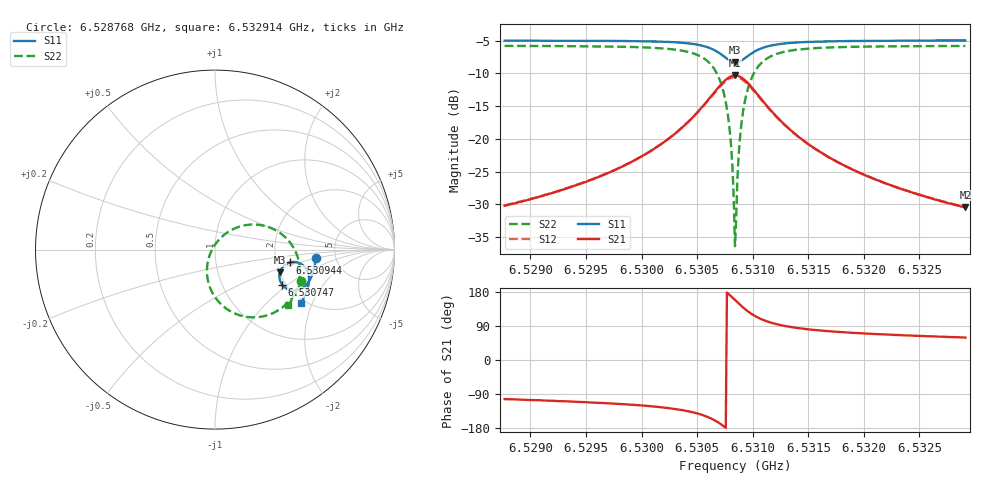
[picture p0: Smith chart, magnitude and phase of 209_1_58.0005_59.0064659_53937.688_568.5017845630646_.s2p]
#  HZ  S  RI  R  50.00
! Rohde & Schwarz Vector Network Analyzer
! Rohde-Schwarz,ZNB20-2Port,1311601062101988,3.16
! Created: UTC 3/21/2024, 12:59:40 AM
! freq[Hz]  re:S11  im:S11  re:S21  im:S21  re:S12  im:S12  re:S22  im:S22
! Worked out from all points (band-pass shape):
!   401 points, 6.528768 GHz to 6.532914 GHz, reference 50 ohm
!   highest |S21| = -10.31 dB at 6.530841 GHz (marker M1); lowest = -30.4 dB at 6.532914 GHz (marker M2)
!   |S21| within 3 dB of the highest: 6.530634 GHz to 6.531049 GHz (414.2 kHz wide, 0.00634 % of centre)
!   lowest |S11| = -8.3 dB at 6.530841 GHz (marker M3), VSWR 2.24, Z = 101 - j29.9 ohm
!   |S11| at or under -10 dB: nowhere
!   |S22| runs from -36.4 to -5.8 dB; largest |S21 - S12| = 0.012
!   S11 on the Smith chart (normalised r, x): 6.528768 GHz: 3.49, -0.50; 6.530747 GHz: 1.91, -0.91; 6.530944 GHz: 2.37, -0.41; 6.532914 GHz: 1.91, -1.66
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6.5287676e9  0.5603 -0.0489  -0.00703 -0.0301  -0.00759 -0.03  0.4818 -0.1753
6.5294621e9  0.5512 -0.1069  -0.0164 -0.0428  -0.0174 -0.0426  0.4503 -0.2391
6.5301566e9  0.5241 -0.1764  -0.0499 -0.0738  -0.052 -0.0723  0.3683 -0.3277
6.530395e9  0.4978 -0.2068  -0.0892 -0.0931  -0.0921 -0.0901  0.2876 -0.3671
6.5305713e9  0.4545 -0.2269  -0.157 -0.0997  -0.1594 -0.0932  0.1623 -0.3722
6.5306749e9  0.4098 -0.2224  -0.2263 -0.0736  -0.2256 -0.064  0.046 -0.3157
6.5307475e9  0.3747 -0.1956  -0.2774 -0.0153  -0.2717 -0.00534  -0.0292 -0.2082
6.5307889e9  0.3613 -0.168  -0.2933 0.0373  -0.2845 0.0455  -0.0451 -0.1178
6.5308097e9  0.3588 -0.1516  -0.2939 0.0672  -0.2838 0.0737  -0.0402 -0.0686
6.5308304e9  0.3599 -0.1347  -0.2886 0.0976  -0.2778 0.1022  -0.0257 -0.0203
6.5308408e9  0.3617 -0.1264  -0.2836 0.1123  -0.2726 0.116  -0.0149 0.00298
6.5308511e9  0.3645 -0.1182  -0.2773 0.1267  -0.2664 0.1293  -0.00164 0.0249
6.5308615e9  0.3682 -0.1107  -0.2696 0.14  -0.2586 0.1416  0.0137 0.0453
6.5308822e9  0.3776 -0.0966  -0.2506 0.164  -0.2405 0.164  0.049 0.081
6.5308926e9  0.3833 -0.0907  -0.2396 0.1742  -0.2301 0.1735  0.0686 0.0956
6.5309133e9  0.3957 -0.081  -0.2163 0.1907  -0.2076 0.1888  0.1102 0.1184
6.5309444e9  0.416 -0.0718  -0.1797 0.2062  -0.1728 0.2032  0.1736 0.1368
6.531017e9  0.4589 -0.0713  -0.1048 0.2083  -0.1012 0.2052  0.2992 0.1251
6.5311206e9  0.4964 -0.093  -0.0403 0.1774  -0.0386 0.1758  0.403 0.0571
6.5315353e9  0.5238 -0.1723  0.0153 0.0859  0.0165 0.0854  0.4727 -0.1348
6.5322298e9  0.5062 -0.2439  0.0176 0.0412  0.0184 0.0408  0.4431 -0.2503
6.5329139e9  0.4807 -0.2957  0.0154 0.026  0.0159 0.0256  0.4078 -0.31
